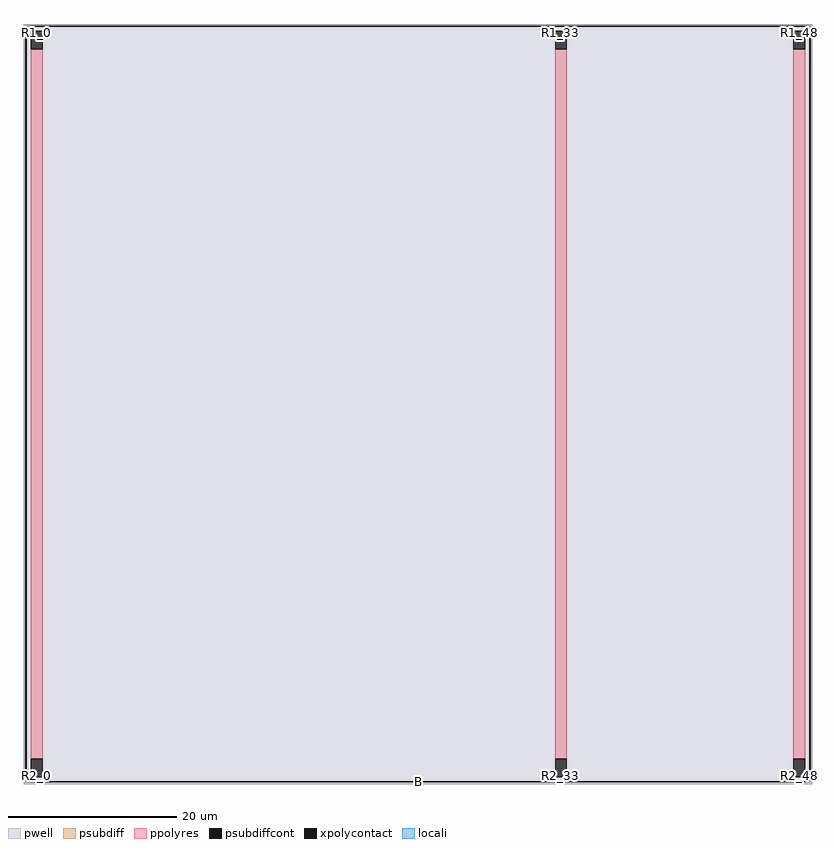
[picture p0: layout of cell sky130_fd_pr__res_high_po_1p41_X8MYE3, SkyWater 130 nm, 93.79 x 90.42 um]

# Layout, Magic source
magic
tech sky130A
magscale 1 2
<< pwell >>
rect -9379 -9042 9379 9042
<< psubdiff >>
rect -9343 8972 -9247 9006
rect 9247 8972 9343 9006
rect -9343 8910 -9309 8972
rect 9309 8910 9343 8972
rect -9343 -8972 -9309 -8910
rect 9309 -8972 9343 -8910
rect -9343 -9006 -9247 -8972
rect 9247 -9006 9343 -8972
<< psubdiffcont >>
rect -9247 8972 9247 9006
rect -9343 -8910 -9309 8910
rect 9309 -8910 9343 8910
rect -9247 -9006 9247 -8972
<< xpolycontact >>
rect -9213 8444 -8931 8876
rect -9213 -8876 -8931 -8444
rect 3261 8444 3543 8876
rect 3261 -8876 3543 -8444
rect 8931 8444 9213 8876
rect 8931 -8876 9213 -8444
<< ppolyres >>
rect -9213 -8444 -8931 8444
rect 3261 -8444 3543 8444
rect 8931 -8444 9213 8444
<< locali >>
rect -9343 8972 -9247 9006
rect 9247 8972 9343 9006
rect -9343 8910 -9309 8972
rect 9309 8910 9343 8972
rect -9343 -8972 -9309 -8910
rect 9309 -8972 9343 -8910
rect -9343 -9006 -9247 -8972
rect 9247 -9006 9343 -8972
<< labels >>
rlabel psubdiffcont 0 -8989 0 -8989 0 B
port 1 nsew
rlabel xpolycontact -9072 8841 -9072 8841 0 R1_0
port 2 nsew
rlabel xpolycontact -9072 -8841 -9072 -8841 0 R2_0
port 3 nsew
rlabel xpolycontact 3402 8841 3402 8841 0 R1_33
port 68 nsew
rlabel xpolycontact 3402 -8841 3402 -8841 0 R2_33
port 69 nsew
rlabel xpolycontact 9072 8841 9072 8841 0 R1_48
port 98 nsew
rlabel xpolycontact 9072 -8841 9072 -8841 0 R2_48
port 99 nsew
<< properties >>
string FIXED_BBOX -9326 -8989 9326 8989
string gencell sky130_fd_pr__res_high_po_1p41
string library sky130
string parameters w 1.410 l 84.6 m 1 nx 49 wmin 1.410 lmin 0.50 class resistor rho 319.8 val 19.464k dummy 0 dw 0.0 term 194.82 sterm 0.0 caplen 0 guard 1 glc 1 grc 1 gtc 1 gbc 1 compatible {sky130_fd_pr__res_high_po_0p35  sky130_fd_pr__res_high_po_0p69 sky130_fd_pr__res_high_po_1p41  sky130_fd_pr__res_high_po_2p85 sky130_fd_pr__res_high_po_5p73} snake 0 full_metal 1 wmax 1.410 n_guard 0 hv_guard 0 vias 0 viagb 0 viagt 0 viagl 0 viagr 0 doports 1
<< end >>
